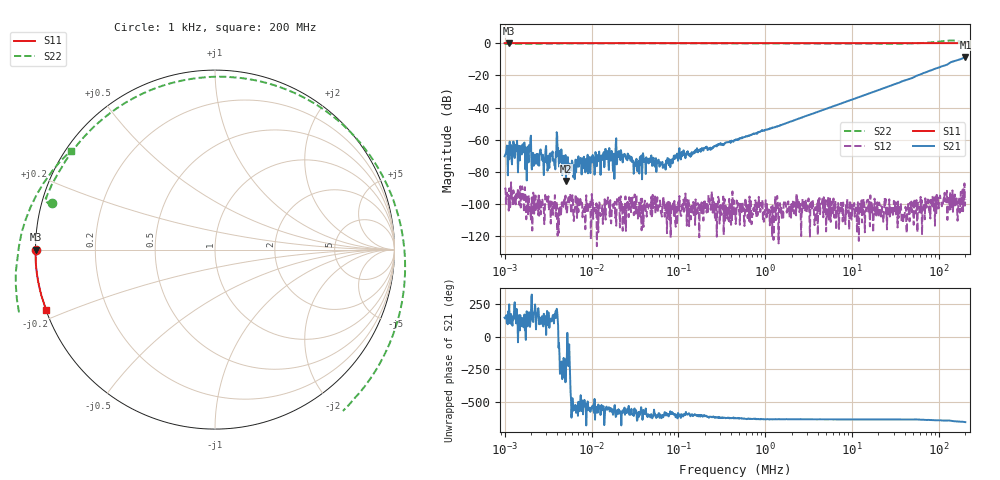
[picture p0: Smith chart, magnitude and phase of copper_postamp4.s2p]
! ListType=Log
# MHZ S RI R 50
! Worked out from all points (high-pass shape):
!   1000 points, 1 kHz to 200 MHz, reference 50 ohm
!   highest |S21| = -8.66 dB at 200 MHz (marker M1); lowest = -85.5 dB at 5.079 kHz (marker M2)
!   |S21| within 3 dB of the highest: 138.9 MHz to end of sweep
!   lowest |S11| = 0.0 dB at 1.116 kHz (marker M3)
!   |S11| at or under -10 dB: nowhere
!   |S22| runs from -0.5 to 1.7 dB; largest |S21 - S12| = 0.37
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0.001  -0.9996 0.000212  -0.000258 0.000166  -1.15e-05 -2.99e-05  -0.9089 0.26
0.0011162  -0.9989 0.000205  -0.000567 0.000263  -5.6e-06 3e-06  -0.9121 0.2584
0.0016104  -0.9996 0.000464  -0.000543 0.000476  -2.43e-05 9.4e-06  -0.9203 0.257
0.0021858  -0.9994 -1.93e-05  -0.000338 -1.72e-05  -2.6e-06 -4.4e-06  -0.9279 0.2587
0.0032315  -0.9995 9.36e-05  -0.000133 0.000128  -4e-07 -6.4e-06  -0.9355 0.2636
0.0041261  -0.9995 0.000113  3.95e-05 0.000547  1.5e-06 -4.8e-06  -0.9385 0.2672
0.0050786  -0.9996 -0.000163  -3.89e-05 3.57e-05  6.2e-06 1.1e-06  -0.9403 0.2704
0.0076941  -0.9997 3.88e-05  -7.63e-05 3.5e-05  -2.1e-06 8.4e-06  -0.9422 0.2759
0.019955  -0.9996 -8.16e-05  -0.000378 0.000188  -8.5e-06 -1.15e-05  -0.9424 0.2835
0.0317463  -0.9998 -8.33e-05  -0.000107 0.000113  -4.7e-06 5e-06  -0.9417 0.2857
0.0584804  -0.9996 -9.8e-05  -0.000111 0.000212  1.1e-06 -7.5e-06  -0.9406 0.2882
0.4499541  -0.9997 -0.000913  -9.6e-05 0.00095  1.8e-06 7.1e-06  -0.9349 0.303
3.419952  -1 -0.00624  0.000279 0.00634  -1.8e-06 -7.2e-06  -0.8867 0.4028
12.03851  -1 -0.0214  0.00121 0.0212  -7.5e-06 -3e-07  -0.7122 0.6466
26.31347  -0.9997 -0.0461  0.00293 0.0456  3.6e-06 -3.5e-06  -0.3118 0.9064
50.9003  -0.9973 -0.0882  0.00568 0.0861  -1e-07 -2.3e-06  0.4925 0.8486
81.97236  -0.9913 -0.1411  0.0201 0.144  5.3e-06 -7.1e-06  1.057 -0.0223
103.3922  -0.9852 -0.1771  0.0321 0.1813  -9.6e-06 -1.12e-05  0.8402 -0.7545
128.8255  -0.9761 -0.2192  0.0436 0.2287  -1.25e-05 -1.01e-05  0.0311 -1.195
145.5678  -0.9695 -0.2469  0.0773 0.2606  5.8e-06 -1.22e-05  -0.5687 -1.06
164.4859  -0.9607 -0.2775  0.1 0.2819  4.6e-06 -3.3e-06  -1.028 -0.5582
200  -0.9414 -0.3353  0.1496 0.3371  -1.29e-05 -6.6e-06  -0.8026 0.5506
